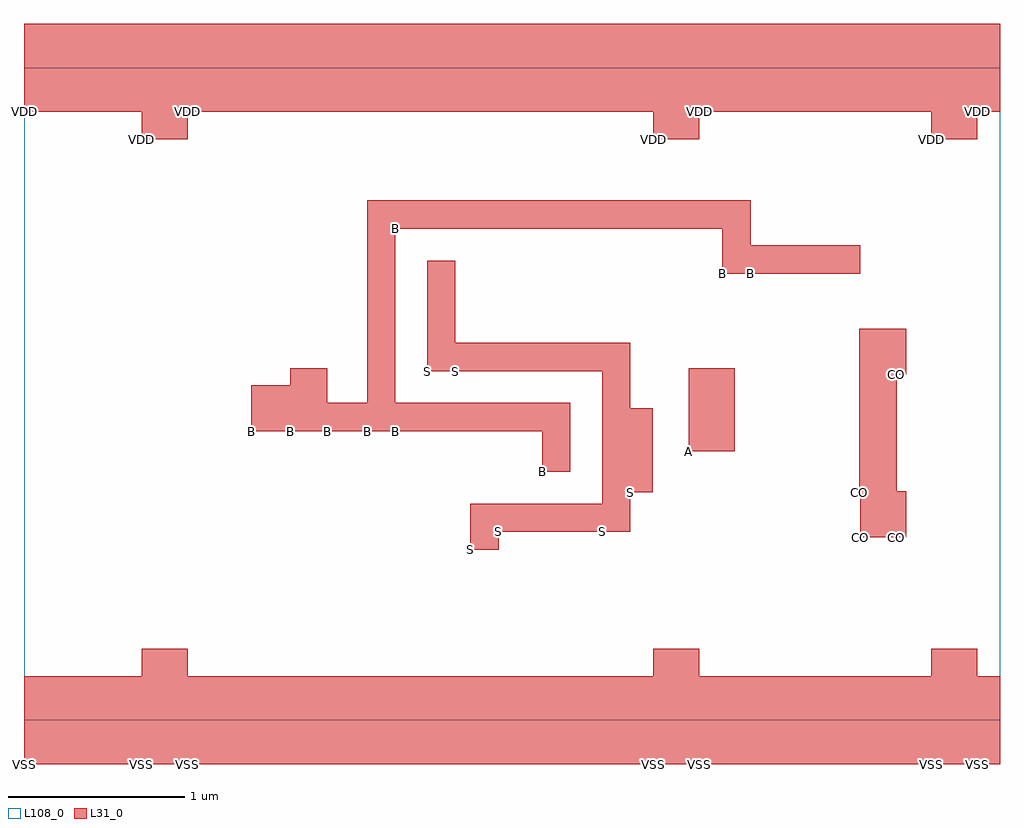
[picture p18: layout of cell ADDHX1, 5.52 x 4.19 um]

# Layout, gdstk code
import gdstk
lib = gdstk.Library(unit=1e-6, precision=1e-09)
def R(c, l, rs):  # rectangles x0, y0, x1, y1
    for r in rs: c.add(gdstk.rectangle(r[:2], r[2:], *l))
L31_0 = (31, 0)
L108_0 = (108, 0)

addhx1 = lib.new_cell('ADDHX1')
R(addhx1, L31_0, [(0,-0.25,0.665,0.25), (0.665,-0.25,0.925,0.405), (0.925,-0.25,3.56,0.25), (3.56,-0.25,3.82,0.405), (3.82,-0.25,5.13,0.25), (5.13,-0.25,5.39,0.405), (5.39,-0.25,5.52,0.25), (2.525,0.965,2.685,1.225), (4.73,1.035,4.935,2.215), (4.935,1.035,4.99,1.295), (2.685,1.065,3.27,1.225), (3.27,1.065,3.43,2.135), (3.43,1.29,3.555,1.765), (4.725,1.29,4.73,2.215), (2.93,1.405,3.09,1.795), (3.76,1.52,4.02,1.99), (1.285,1.635,1.505,1.895), (1.505,1.635,1.715,1.99), (1.715,1.635,1.94,1.795), (1.94,1.635,2.1,2.94), (2.1,1.635,2.93,1.795), (4.935,1.955,4.99,2.215), (2.28,1.975,2.44,2.6), (2.44,1.975,3.27,2.135), (3.95,2.525,4.11,2.94), (4.11,2.525,4.73,2.685), (2.1,2.78,3.95,2.94), (0.665,3.285,0.925,3.94), (3.56,3.285,3.82,3.94), (5.13,3.285,5.39,3.94), (0,3.44,0.665,3.94), (0.925,3.44,3.56,3.94), (3.82,3.44,5.13,3.94), (5.39,3.44,5.52,3.94)])
R(addhx1, L108_0, [(0,0,5.52,3.69)])
addhx1.add(gdstk.Label('S', (2.28,1.975), layer=131, texttype=0))
addhx1.add(gdstk.Label('S', (2.525,0.965), layer=131, texttype=0))
addhx1.add(gdstk.Label('S', (2.44,1.975), layer=131, texttype=0))
addhx1.add(gdstk.Label('S', (2.685,1.065), layer=131, texttype=0))
addhx1.add(gdstk.Label('S', (3.27,1.065), layer=131, texttype=0))
addhx1.add(gdstk.Label('S', (3.43,1.29), layer=131, texttype=0))
addhx1.add(gdstk.Label('CO', (4.725,1.29), layer=131, texttype=0))
addhx1.add(gdstk.Label('CO', (4.73,1.035), layer=131, texttype=0))
addhx1.add(gdstk.Label('CO', (4.935,1.955), layer=131, texttype=0))
addhx1.add(gdstk.Label('CO', (4.935,1.035), layer=131, texttype=0))
addhx1.add(gdstk.Label('B', (1.285,1.635), layer=131, texttype=0))
addhx1.add(gdstk.Label('B', (1.505,1.635), layer=131, texttype=0))
addhx1.add(gdstk.Label('B', (1.715,1.635), layer=131, texttype=0))
addhx1.add(gdstk.Label('B', (1.94,1.635), layer=131, texttype=0))
addhx1.add(gdstk.Label('B', (2.1,1.635), layer=131, texttype=0))
addhx1.add(gdstk.Label('B', (2.93,1.405), layer=131, texttype=0))
addhx1.add(gdstk.Label('B', (2.1,2.78), layer=131, texttype=0))
addhx1.add(gdstk.Label('B', (3.95,2.525), layer=131, texttype=0))
addhx1.add(gdstk.Label('B', (4.11,2.525), layer=131, texttype=0))
addhx1.add(gdstk.Label('A', (3.76,1.52), layer=131, texttype=0))
addhx1.add(gdstk.Label('VSS', (0,-0.25), layer=131, texttype=0))
addhx1.add(gdstk.Label('VSS', (0.665,-0.25), layer=131, texttype=0))
addhx1.add(gdstk.Label('VSS', (0.925,-0.25), layer=131, texttype=0))
addhx1.add(gdstk.Label('VSS', (3.56,-0.25), layer=131, texttype=0))
addhx1.add(gdstk.Label('VSS', (3.82,-0.25), layer=131, texttype=0))
addhx1.add(gdstk.Label('VSS', (5.13,-0.25), layer=131, texttype=0))
addhx1.add(gdstk.Label('VSS', (5.39,-0.25), layer=131, texttype=0))
addhx1.add(gdstk.Label('VDD', (0,3.44), layer=131, texttype=0))
addhx1.add(gdstk.Label('VDD', (0.665,3.285), layer=131, texttype=0))
addhx1.add(gdstk.Label('VDD', (0.925,3.44), layer=131, texttype=0))
addhx1.add(gdstk.Label('VDD', (3.56,3.285), layer=131, texttype=0))
addhx1.add(gdstk.Label('VDD', (3.82,3.44), layer=131, texttype=0))
addhx1.add(gdstk.Label('VDD', (5.13,3.285), layer=131, texttype=0))
addhx1.add(gdstk.Label('VDD', (5.39,3.44), layer=131, texttype=0))

lib.write_gds('ADDHX1.gds')
